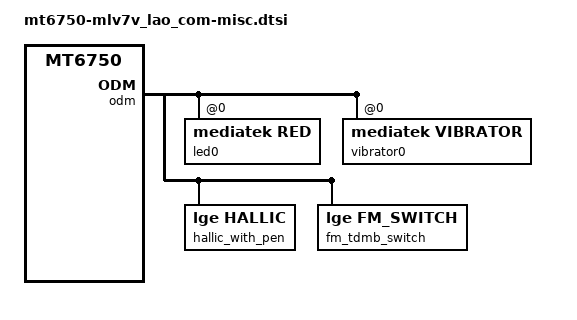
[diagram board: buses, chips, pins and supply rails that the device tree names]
/*
 * LG Electronics LV7V misc device tree source
 *
 * Copyright (c) 2017 LG Electronics Co., Ltd.
 *              http://www.lge.com
 *
 */

&odm {
	led0:led@0 {
        compatible = "mediatek,red";
        led_mode = <3>;
        data = <1>;
        pwm_config = <0 0 0 0 0>;
    };

	vibrator0:vibrator@0 {
		compatible = "mediatek,vibrator";
		vib_timer = <25>;
		vib_limit = <9>;
		vib_vol= <6>;
	};
};

&pio {
    hallic_default_cfg: hallic_default_cfg {
    };

    hallic_hall_int_cfg: gpio@2 {
        // HALL_INT
        pins_cmd_dat {
            pins = <PINMUX_GPIO2__FUNC_GPIO2>;
            slew-rate = <0>;        // input
        };
    };

/* FM_TDMB_SW */
	fm_tdmb_sw_default: fm_tdmb_sw_default {
		pins_cmd_dat {
			pins = <PINMUX_GPIO116__FUNC_GPIO116>;
			slew-rate = <1>;
			output-low;
		};
	};

	fm_tdmb_sw_high: fm_tdmb_sw_fm {
		pins_cmd_dat {
			pins = <PINMUX_GPIO116__FUNC_GPIO116>;
			slew-rate = <1>;
			output-high;
		};
	};

	fm_tdmb_sw_low: fm_tdmb_sw_tdmb {
		pins_cmd_dat {
			pins = <PINMUX_GPIO116__FUNC_GPIO116>;
			slew-rate = <1>;
			output-low;
		};
	};
};

&odm {
	hallic_with_pen {
		compatible = "lge,hallic";

		interrupt-parent = <&eintc>;
		interrupts = <2 IRQ_TYPE_EDGE_BOTH>;
		debounce = <2 0>;    // gpio, debounce_time

		pinctrl-names = "default", "hall_int_cfg";
		pinctrl-0 = <&hallic_default_cfg>;
		pinctrl-1 = <&hallic_hall_int_cfg>;

		status = "okay";
	};

	fm_tdmb_switch {
		compatible = "lge,fm_switch";
		status = "okay";
		lge,gpio-control = <1>;
		pinctrl-names = "fm_tdmb_sw_default", "fm_tdmb_sw_fm", "fm_tdmb_sw_tdmb";
		pinctrl-0 = <&fm_tdmb_sw_default>;
		pinctrl-1 = <&fm_tdmb_sw_high>;
		pinctrl-2 = <&fm_tdmb_sw_low>;
	};
};
